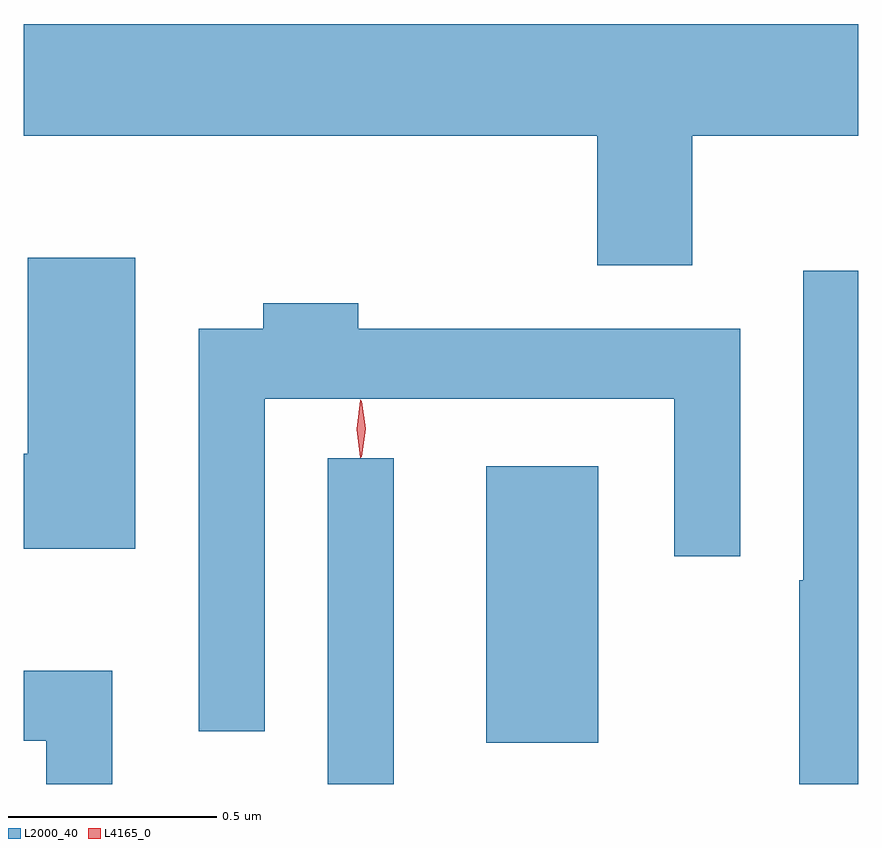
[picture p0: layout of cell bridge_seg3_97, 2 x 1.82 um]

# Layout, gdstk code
import gdstk
lib = gdstk.Library(unit=1e-6, precision=1e-09)
def R(c, l, rs):  # rectangles x0, y0, x1, y1
    for r in rs: c.add(gdstk.rectangle(r[:2], r[2:], *l))
def P(c, l, *ps):  # polygons
    for p in ps: c.add(gdstk.Polygon(p, *l))
L2000_40 = (2000, 40)
L4165_0 = (4165, 0)

bridge_seg3_97 = lib.new_cell('bridge_seg3_97')
R(bridge_seg3_97, L2000_40, [(928.236,1239.902,928.394,1240.683), (928.616,1240.001,928.884,1240.664)])
P(bridge_seg3_97, L2000_40, [(929.109,1241.456),(929.507,1241.456),(929.507,1241.724),(927.507,1241.724),(927.507,1241.456),(928.881,1241.456),(928.881,1241.146),(929.109,1241.146)],
  [(927.774,1241.164),(927.516,1241.164),(927.516,1240.694),(927.507,1240.694),(927.507,1240.466),(927.774,1240.466)],
  [(929.507,1241.133),(929.376,1241.133),(929.376,1240.39),(929.366,1240.39),(929.366,1239.902),(929.507,1239.902)],
  [(928.084,1240.826),(929.066,1240.826),(929.066,1240.448),(929.224,1240.448),(929.224,1240.994),(928.309,1240.994),(928.309,1241.054),(928.081,1241.054),(928.081,1240.994),(927.926,1240.994),(927.926,1240.028),(928.084,1240.028)],
  [(927.719,1240.174),(927.507,1240.174),(927.507,1240.006),(927.561,1240.006),(927.561,1239.902),(927.719,1239.902)])
P(bridge_seg3_97, L4165_0, [(928.316,1240.687),(928.316,1240.687),(928.306,1240.754),(928.316,1240.82),(928.316,1240.821),(928.317,1240.82),(928.326,1240.754),(928.317,1240.687)],
  [(928.314,1240.684),(928.305,1240.753),(928.314,1240.822),(928.314,1240.823),(928.315,1240.822),(928.325,1240.753),(928.315,1240.684),(928.315,1240.684)])

lib.write_gds('bridge_seg3_97.gds')
